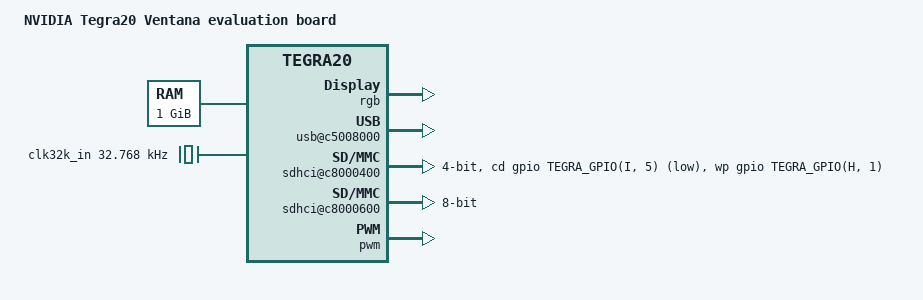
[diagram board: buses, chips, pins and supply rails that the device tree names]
/dts-v1/;

#include "tegra20.dtsi"

/ {
	model = "NVIDIA Tegra20 Ventana evaluation board";
	compatible = "nvidia,ventana", "nvidia,tegra20";

	chosen {
		stdout-path = &uartd;
	};

	aliases {
		usb0 = "/usb@c5008000";
		sdhci0 = "/sdhci@c8000600";
		sdhci1 = "/sdhci@c8000400";
	};

	memory {
		reg = <0x00000000 0x40000000>;
	};

	host1x@50000000 {
		status = "okay";
		dc@54200000 {
			status = "okay";
			rgb {
				status = "okay";
				nvidia,panel = <&lcd_panel>;
			};
		};
	};

	serial@70006300 {
		clock-frequency = < 216000000 >;
	};

	usb@c5008000 {
		status = "okay";
	};

	sdhci@c8000400 {
		status = "okay";
		cd-gpios = <&gpio TEGRA_GPIO(I, 5) GPIO_ACTIVE_LOW>;
		wp-gpios = <&gpio TEGRA_GPIO(H, 1) GPIO_ACTIVE_HIGH>;
		power-gpios = <&gpio TEGRA_GPIO(I, 6) GPIO_ACTIVE_HIGH>;
		bus-width = <4>;
	};

	sdhci@c8000600 {
		status = "okay";
		bus-width = <8>;
	};

	clocks {
		compatible = "simple-bus";
		#address-cells = <1>;
		#size-cells = <0>;

		clk32k_in: clock@0 {
			compatible = "fixed-clock";
			reg=<0>;
			#clock-cells = <0>;
			clock-frequency = <32768>;
		};
	};

	pwm: pwm@7000a000 {
		status = "okay";
	};

	lcd_panel: panel {
		clock = <72072000>;
		xres = <1366>;
		yres = <768>;
		left-margin = <58>;
		right-margin = <58>;
		hsync-len = <58>;
		lower-margin = <4>;
		upper-margin = <4>;
		vsync-len = <4>;
		hsync-active-high;
		vsync-active-high;
		nvidia,bits-per-pixel = <16>;
		nvidia,pwm = <&pwm 2 0>;
		nvidia,backlight-enable-gpios = <&gpio TEGRA_GPIO(D, 4)
							GPIO_ACTIVE_HIGH>;
		nvidia,lvds-shutdown-gpios = <&gpio TEGRA_GPIO(B, 2)
							GPIO_ACTIVE_HIGH>;
		nvidia,backlight-vdd-gpios = <&gpio TEGRA_GPIO(W, 0)
							GPIO_ACTIVE_HIGH>;
		nvidia,panel-vdd-gpios = <&gpio TEGRA_GPIO(C, 6)
							GPIO_ACTIVE_HIGH>;
		nvidia,panel-timings = <0 0 200 0 0>;
	};
};
